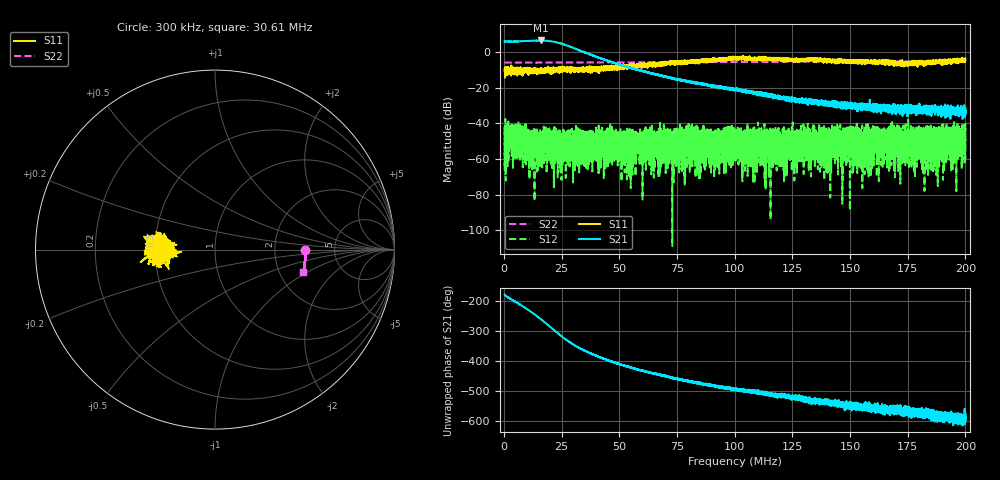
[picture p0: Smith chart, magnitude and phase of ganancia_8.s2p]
# Hz S DB R 50
! CMT, M5065, 19127446, 24.2.4/2
! Date: 10/29/2024 11:56:25 AM
! Data: Format (Calibration Info)
! Freq	S11:dB/Ang(F2)	S21:dB/Ang(F2)	S12:dB/Ang(F2)	S22:dB/Ang(F2)
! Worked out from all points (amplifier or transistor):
!   9000 points, 300 kHz to 200 MHz, reference 50 ohm
!   highest |S21| = 6.5 dB at 16.08 MHz (marker M1)
!   |S21| within 3 dB of that: start of sweep to 27.59 MHz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
!   unconditionally stable (mu >= 1): start of sweep to end of sweep
!   at 33.59 MHz: K = 109.73, MAG = 2.3 dB, |S12| = -50.8 dB
!   at 100.2 MHz: K = 525.10, MAG = -16.6 dB, |S12| = -48.1 dB
!   at 200 MHz: K = 8800.84, MAG = -28.1 dB, |S12| = -60.1 dB
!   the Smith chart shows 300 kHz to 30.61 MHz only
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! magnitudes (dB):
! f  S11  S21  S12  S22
! 300 kHz  -11.0  5.9  -42.5  -6.0
! 11.53 MHz  -10.8  6.3  -47.5  -5.9
! 16.08 MHz  -9.9  6.5  -45.5  -5.9
! 33.59 MHz  -10.2  0.5  -50.8  -5.8
! 66.87 MHz  -6.2  -12.9  -51.1  -5.7
! 100.2 MHz  -3.1  -21.0  -48.1  -5.6
! 110 MHz  -4.1  -23.1  -47.9  -5.6
! 112.5 MHz  -4.2  -23.4  -52.0  -5.6
! 117.5 MHz  -4.4  -24.3  -44.5  -5.5
! 122.2 MHz  -4.4  -25.6  -54.5  -5.5
! 124.2 MHz  -5.0  -26.0  -51.8  -5.4
! 126.3 MHz  -4.5  -26.6  -62.8  -5.4
! 128.5 MHz  -4.6  -27.0  -53.8  -5.4
! 133.4 MHz  -4.1  -27.4  -49.9  -5.3
! 144.9 MHz  -4.8  -29.6  -44.1  -5.3
! 155.9 MHz  -5.6  -30.4  -45.7  -5.3
! 160.6 MHz  -6.9  -30.6  -54.4  -5.3
! 163.4 MHz  -5.4  -31.0  -61.5  -5.3
! 166.7 MHz  -7.4  -32.2  -48.3  -5.3
! 185.4 MHz  -6.6  -32.5  -53.1  -5.4
! 198.4 MHz  -4.3  -34.0  -44.3  -5.5
! 200 MHz  -4.6  -31.5  -60.1  -5.5
